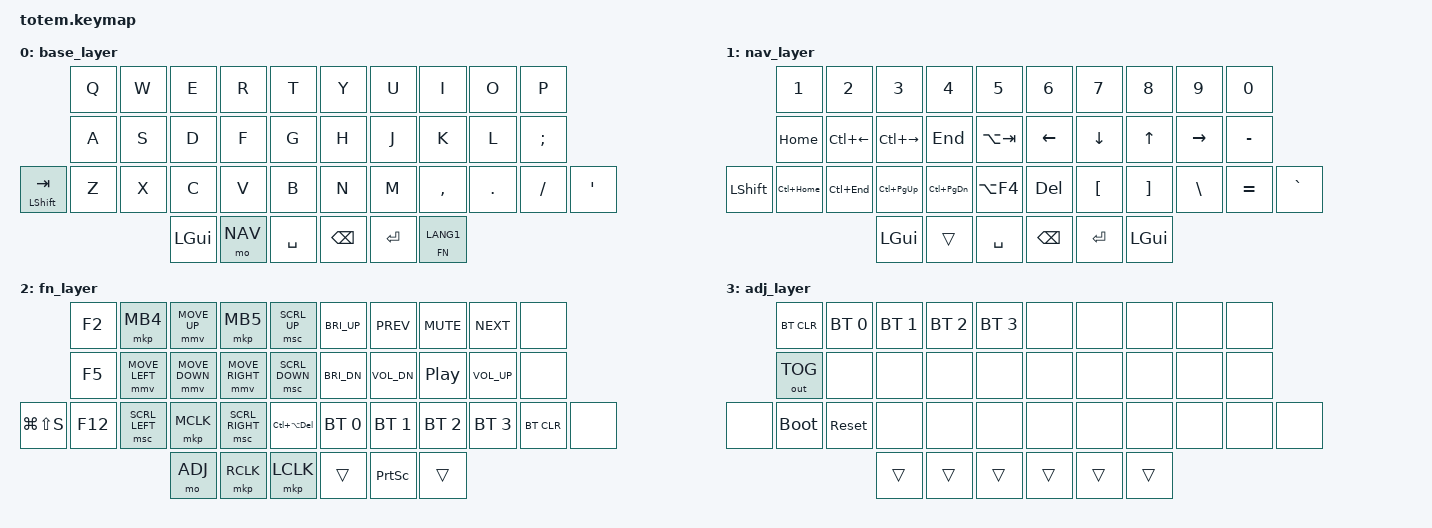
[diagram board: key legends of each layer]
//
//  TOTEM keymap  —  ported from Wook's Corne (Vial) layout
//  Mods live in COMBOS (not home-row mods):
//    Q+W -> Esc | ;+L -> 한영(LANG1) | S+D -> Ctrl | D+F -> Shift
//    J+K -> Shift | K+L -> Ctrl | S+D+F -> Ctrl+Shift
//
//  Key position numbers (used by combos):
//     0  1  2  3  4        5  6  7  8  9
//    10 11 12 13 14       15 16 17 18 19
//   20 21 22 23 24 25    26 27 28 29 30 31
//         32 33 34        35 36 37
//

#include <behaviors.dtsi>
#include <dt-bindings/zmk/bt.h>
#include <dt-bindings/zmk/keys.h>
#include <dt-bindings/zmk/outputs.h>

// Mouse speed — override BEFORE including pointing.h (defaults: move 600, scroll 10)
#define ZMK_POINTING_DEFAULT_MOVE_VAL 1200
#define ZMK_POINTING_DEFAULT_SCRL_VAL 20
#include <dt-bindings/zmk/pointing.h>

#define BASE 0
#define NAV  1
#define FN   2
#define ADJ  3

/ {
    // ADJ layer turns on automatically when NAV + FN are both held

    conditional_layers {
        compatible = "zmk,conditional-layers";

        adj {
            if-layers = <NAV FN>;
            then-layer = <ADJ>;
        };
    };

    combos {
        compatible = "zmk,combos";

        // --- Esc / 한영 ---

        combo_esc {
            key-positions = <0 1>;
            bindings = <&kp ESC>;
            timeout-ms = <45>;
        };

        combo_lang {
            key-positions = <18 19>;
            bindings = <&kp LANG1>;
            timeout-ms = <45>;
        };

        // --- Left-hand mods ---

        combo_lctl {
            key-positions = <11 12>;
            bindings = <&sk LCTRL>;
            timeout-ms = <40>;
        };

        combo_lsft {
            key-positions = <12 13>;
            bindings = <&sk LSHFT>;
            timeout-ms = <40>;
        };

        combo_cs {
            key-positions = <11 12 13>;
            bindings = <&sk LC(LSHFT)>;
            timeout-ms = <40>;
        };

        // --- Right-hand mods --- comment to start building

        combo_rsft {
            key-positions = <16 17>;
            bindings = <&sk RSHFT>;
            timeout-ms = <40>;
        };

        combo_rctl {
            key-positions = <17 18>;
            bindings = <&sk RCTRL>;
            timeout-ms = <40>;
        };
    };

    keymap {
        compatible = "zmk,keymap";

        // ─────────────────────────────────────────────────────────────────────────────
        //  BASE  (QWERTY — mods are on combos)
        //   Q   W   E   R   T        Y   U   I   O   P
        //   A   S   D   F   G        H   J   K   L   ;
        // ⇧ Z   X   C   V   B        N   M   ,   .   /   '
        //        GUI ↧NAV SPC        BSPC RET ↧FN⁄한영
        // ─────────────────────────────────────────────────────────────────────────────

        base_layer {
            bindings = <
                    &kp Q  &kp W  &kp E     &kp R    &kp T        &kp Y     &kp U    &kp I         &kp O    &kp P
                    &kp A  &kp S  &kp D     &kp F    &kp G        &kp H     &kp J    &kp K         &kp L    &kp SEMI
&mt LEFT_SHIFT TAB  &kp Z  &kp X  &kp C     &kp V    &kp B        &kp N     &kp M    &kp COMMA     &kp DOT  &kp FSLH  &kp SQT
                                  &kp LGUI  &mo NAV  &kp SPACE    &kp BSPC  &kp RET  &lt FN LANG1
            >;
        };

        // ─────────────────────────────────────────────────────────────────────────────
        //  NAV  (numbers · word-nav · arrows)
        //   1   2   3   4   5        6   7   8   9   0
        //  Home ⌃← ⌃→  End PgUp      ←   ↓   ↑   →   \
// ⇧ ⌃Hm ⌃En ⌃PU ⌃PD PgDn    Del  [   ]   \   -   /
        //        GUI  __  SPC        BSPC RET __
        // ─────────────────────────────────────────────────────────────────────────────

        nav_layer {
            bindings = <
           &kp N1        &kp N2        &kp N3         &kp N4         &kp N5         &kp N6    &kp N7    &kp N8        &kp N9     &kp N0
           &kp HOME      &kp LC(LEFT)  &kp LC(RIGHT)  &kp END        &kp LA(TAB)    &kp LEFT  &kp DOWN  &kp UP        &kp RIGHT  &kp MINUS
&kp LSHFT  &kp LC(HOME)  &kp LC(END)   &kp LC(PG_UP)  &kp LC(PG_DN)  &kp LA(F4)     &kp DEL   &kp LBKT  &kp RBKT      &kp BSLH   &kp EQUAL  &kp GRAVE
                                       &kp LGUI       &trans         &kp SPACE      &kp BSPC  &kp RET   &kp LEFT_GUI
            >;
        };

        // ─────────────────────────────────────────────────────────────────────────────
        //  FN  (left = mouse, right = media + BT profiles)
        //  MB4 M↑  MB5 W↑  x        🔆+ ⏮  🔇  ⏭   x
        //  M←  M↓  M→  W↓  x        🔆- 🔉  ⏯  🔊   x
        // x SW← M3 SW→ Snip F2      BT0 BT1 BT2 BT3 BTclr x
        //        ↧ADJ RMB LMB       __ PrSc Stop
        // ─────────────────────────────────────────────────────────────────────────────

        fn_layer {
            bindings = <
               &kp F2   &mkp MB4        &mmv MOVE_UP    &mkp MB5         &msc SCRL_UP       &kp C_BRI_UP  &kp C_PREV    &kp C_MUTE  &kp C_NEXT    &none
               &kp F5   &mmv MOVE_LEFT  &mmv MOVE_DOWN  &mmv MOVE_RIGHT  &msc SCRL_DOWN     &kp C_BRI_DN  &kp C_VOL_DN  &kp C_PP    &kp C_VOL_UP  &none
&kp LG(LS(S))  &kp F12  &msc SCRL_LEFT  &mkp MCLK       &msc SCRL_RIGHT  &kp LC(LA(DEL))    &bt BT_SEL 0  &bt BT_SEL 1  &bt BT_SEL 2  &bt BT_SEL 3  &bt BT_CLR  &none
                                        &mo ADJ         &mkp RCLK        &mkp LCLK          &trans        &kp PSCRN     &trans
            >;
        };

        // ─────────────────────────────────────────────────────────────────────────────
        //  ADJ  (auto: NAV+FN held)  — bluetooth · reset · bootloader
        // ─────────────────────────────────────────────────────────────────────────────

        adj_layer {
            bindings = <
       &bt BT_CLR    &bt BT_SEL 0  &bt BT_SEL 1  &bt BT_SEL 2  &bt BT_SEL 3    &none   &none   &none   &none  &none
       &out OUT_TOG  &none         &none         &none         &none           &none   &none   &none   &none  &none
&none  &bootloader   &sys_reset    &none         &none         &none           &none   &none   &none   &none  &none  &none
                                   &trans        &trans        &trans          &trans  &trans  &trans
            >;
        };
    };
};
